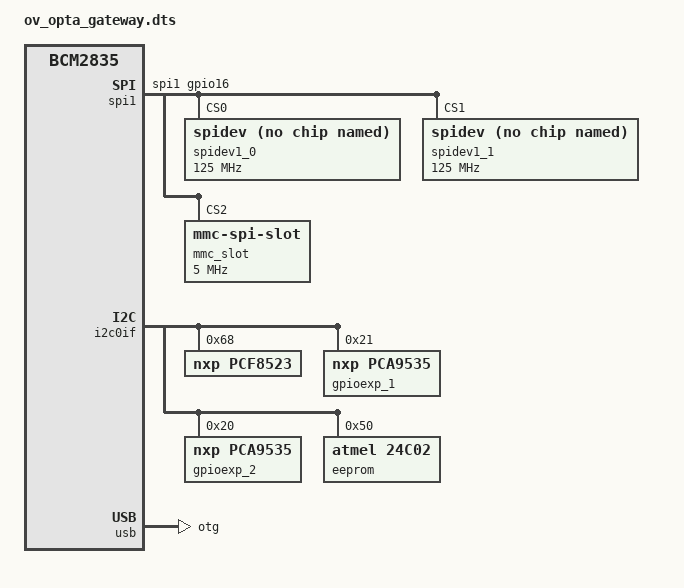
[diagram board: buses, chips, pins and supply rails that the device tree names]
/*
 * Device tree overlay for Arduino Opta Gateway ARCH1 / ARCH2
 *
 * Arduino Oct 2024
 */

/dts-v1/;
/plugin/;

#include <dt-bindings/pinctrl/bcm2835.h>
#include <dt-bindings/gpio/gpio.h>
#include <dt-bindings/interrupt-controller/irq.h>
#include <dt-bindings/interrupt-controller/arm-gic.h>

/ {
	compatible = "brcm,bcm2835";

	/* SPI */

	fragment@0 {
		target = <&spi1>;
		__overlay__ {
			/* needed to avoid dtc warning */
			#address-cells = <1>;
			#size-cells = <0>;

			pinctrl-names = "default";
			pinctrl-0 = <&spi1_gpio16>;
			status = "okay";

			/* To ARCH1 */
			/* @TODO: bind devices on ARCH1 */
			spidev1_0: spidev@0 {
				compatible = "spidev";
				reg = <0>;      /* CE0 */
				#address-cells = <1>;
				#size-cells = <0>;
				spi-max-frequency = <125000000>;
				status = "okay";
			};

			/* To ARCH1 */
			/* @TODO: bind devices on ARCH1 */
			spidev1_1: spidev@1 {
				compatible = "spidev";
				reg = <1>;      /* CE1 */
				#address-cells = <1>;
				#size-cells = <0>;
				spi-max-frequency = <125000000>;
				status = "okay";
			};

			/* Sd Card */
			mmc_slot: mmcslot@2 {
				compatible = "mmc-spi-slot";
				voltage-ranges = <3300 3300>;
				reg = <2>;      /* CS */
				#address-cells = <1>;
				#size-cells = <0>;
				spi-max-frequency = <5000000>;
				status = "okay";
			};
		};
	};

	/* I2C */

	/* ID_SD / ID_SC
	// See i2c0-overlay.dts
	// You can just load dtoverlay=i2c0
	@TODO: fix i2c node name, bind following devices
	- EEPROM
	- GPIOEXP1
	- GPIOEXP2
	- RTC
	*/
	fragment@1 {
		target = <&i2c0mux>;
		__overlay__ {
			status = "disabled";
		};
	};

	fragment@2 {
		target = <&i2c0if>;
		__overlay__ {
			pinctrl-names = "default";
			pinctrl-0 = <&i2c0_pins>;
			status = "okay";

			/* U5 RTC */
			// INTA -> GLOBAL_EN
			// INTB -> gpioexp_1 P00A
			pcf8523: pcf8523@68 {
				compatible = "nxp,pcf8523";
				reg = <0x68>;
			};

			/* U2_1 GPIO EXP */
			// See pca953x-overlay.dts
			gpioexp_1: gpio@21 {
				compatible = "nxp,pca9535";
				//pinctrl-names = "default";
				//pinctrl-0 = <&pinctrl_gpioexp_1>;
				reg = <0x21>;
				gpio-controller;
				#gpio-cells = <2>;
				//interrupt-controller;
				//#interrupt-cells = <2>;
				//interrupt-parent = <&gpio>;
				//interrupts = <24 IRQ_TYPE_LEVEL_LOW>;
			};

			/* U2_2 GPIO EXP */
			// // See pca953x-overlay.dts
			gpioexp_2: gpio@20 {
				compatible = "nxp,pca9535";
				//pinctrl-names = "default";
				//pinctrl-0 = <&pinctrl_gpioexp_2>;
				reg = <0x20>;
				gpio-controller;
				#gpio-cells = <2>;
				//interrupt-controller;
				//#interrupt-cells = <2>;
				//interrupt-parent = <&gpio>;
				//interrupts = <25 IRQ_TYPE_LEVEL_LOW>;
			};

			/*  U4 EEPROM 0x50 */
			/* WP is held to GND */
			eeprom@50 {
				compatible = "atmel,24c02";
				reg = <0x50>;
				pagesize = <16>;
			};
		};
	};

	/* USB */
	// See dwc2-overlay.dts
	// You can just load dtoverlay=dwc2
	fragment@3 {
		target = <&usb>;
		#address-cells = <1>;
		#size-cells = <1>;
		dwc2_usb: __overlay__ {
			compatible = "brcm,bcm2835-usb";
			dr_mode = "otg";
			g-np-tx-fifo-size = <32>;
			g-rx-fifo-size = <558>;
			g-tx-fifo-size = <512 512 512 512 512 256 256>;
			status = "okay";
		};
	};


	/* PINMUX */
	fragment@4 {
		target = <&gpio>;
		__overlay__ {
			pinctrl_gpioexp_1: gpioexp_1grp {
				brcm,pins = <24>;
				brcm,function = <BCM2835_FSEL_GPIO_OUT>;
			};

			pinctrl_gpioexp_2: gpioexp_2grp {
				brcm,pins = <25>;
				brcm,function = <BCM2835_FSEL_GPIO_OUT>;
			};
		};
	};

	/* @TODO: next nodes */
};
